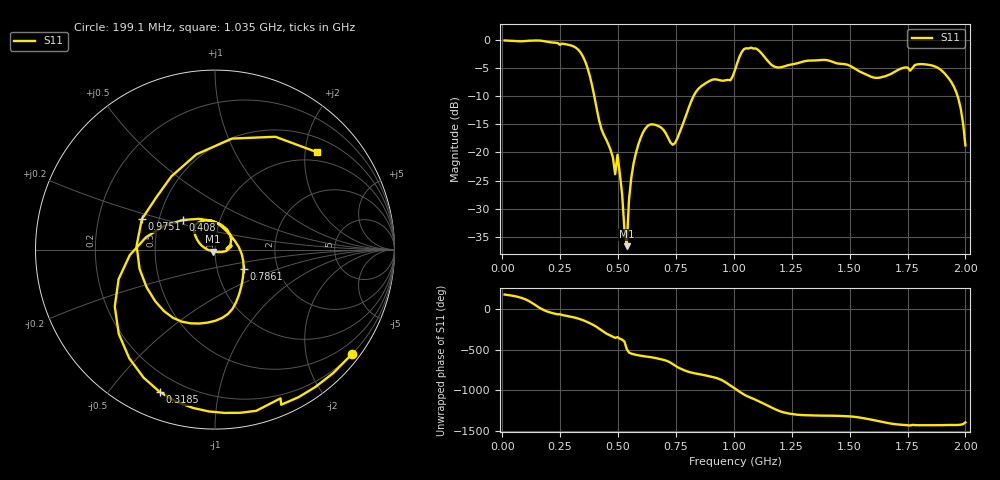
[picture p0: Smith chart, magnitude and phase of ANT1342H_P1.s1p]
!Created with skrf (http://scikit-rf.org).
# Hz S RI R 50.0
!freq ReS11 ImS11
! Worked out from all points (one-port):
!   201 points, 10 MHz to 2 GHz, reference 50 ohm
!   lowest |S11| = -36.7 dB at 537.4 MHz (marker M1), VSWR 1.03, Z = 49 - j1.05 ohm
!   |S11| at or under -10 dB: 397.2 MHz to 825.9 MHz (428.6 MHz wide, 70.1 % of centre); 1.966 GHz to end of sweep
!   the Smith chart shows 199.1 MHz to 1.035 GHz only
!   S11 on the Smith chart (normalised r, x): 199.1 MHz: 0.20, -2.95; 318.4 MHz: 0.12, -0.68; 408 MHz: 0.66, +0.23; 786.1 MHz: 1.34, -0.30; 975.1 MHz: 0.40, +0.17; 1.035 GHz: 0.79, +2.25
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1e7  -0.9865 0.0746
7.965e7  -0.7166 0.6564
1.1945e8  0.0297 0.9847
1.5925e8  0.9509 0.2658
1.9905e8  0.7633 -0.5816
2.5875e8  0.2296 -0.8983
3.1845e8  -0.3077 -0.7932
3.5825e8  -0.5584 -0.3172
4.08e8  -0.1782 0.1652
5.075e8  0.0645 -0.00734
5.3735e8  -0.00996 -0.0108
5.5725e8  -0.059 0.0102
6.07e8  -0.1149 0.0957
7.5625e8  0.1331 0.0128
7.861e8  0.1599 -0.1092
9.055e8  -0.1849 -0.4014
9.7515e8  -0.4075 0.17
1.005e9  -0.104 0.5306
1.03485e9  0.5664 0.5433
1.07465e9  0.8304 -0.2029
1.1244e9  0.1657 -0.7205
1.17415e9  -0.485 -0.3177
1.25375e9  -0.5166 0.3202
1.5025e9  -0.2895 0.5111
1.75125e9  0.5579 0.1054
1.93035e9  0.4343 0.111
1.97015e9  0.2875 0.0799
2e9  0.0793 0.0839
